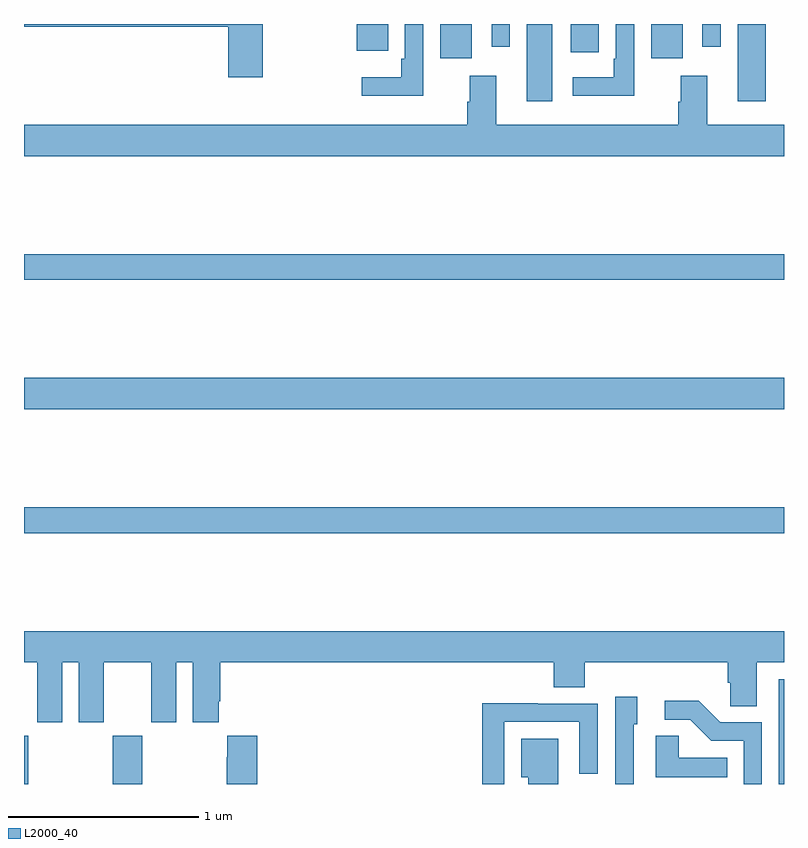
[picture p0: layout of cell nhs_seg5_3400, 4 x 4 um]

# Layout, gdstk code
import gdstk
lib = gdstk.Library(unit=1e-6, precision=1e-09)
def R(c, l, rs):  # rectangles x0, y0, x1, y1
    for r in rs: c.add(gdstk.rectangle(r[:2], r[2:], *l))
def P(c, l, *ps):  # polygons
    for p in ps: c.add(gdstk.Polygon(p, *l))
L2000_40 = (2000, 40)

nhs_seg5_3400 = lib.new_cell('nhs_seg5_3400')
R(nhs_seg5_3400, L2000_40, [(311,842.799,311.022,843.052), (311.467,842.799,311.622,843.052), (314.973,842.799,315,843.351), (311,844.12,315,844.256), (311,844.772,315,844.936), (311,845.452,315,845.588), (313.646,846.393,313.78,846.799), (314.756,846.393,314.903,846.799), (313.19,846.618,313.357,846.799), (314.3,846.618,314.467,846.799), (313.877,846.651,314.026,846.799), (312.752,846.659,312.916,846.799), (313.461,846.678,313.557,846.799), (314.571,846.678,314.667,846.799)])
P(nhs_seg5_3400, L2000_40, [(314.211,846.799),(314.115,846.799),(314.115,846.616),(314.103,846.616),(314.103,846.52),(313.887,846.52),(313.887,846.422),(314.211,846.422)],
  [(312.257,846.799),(311,846.799),(311,846.784),(312.074,846.784),(312.074,846.519),(312.257,846.519)],
  [(313.101,846.799),(313.005,846.799),(313.005,846.616),(312.985,846.616),(312.985,846.52),(312.777,846.52),(312.777,846.422),(313.101,846.422)],
  [(315,846.268),(314.596,846.268),(314.596,846.526),(314.456,846.526),(314.456,846.389),(314.444,846.389),(314.444,846.268),(313.486,846.268),(313.486,846.526),(313.346,846.526),(313.346,846.389),(313.334,846.389),(313.334,846.268),(311,846.268),(311,846.104),(315,846.104)],
  [(311.2,843.44),(311.288,843.44),(311.288,843.123),(311.419,843.123),(311.419,843.44),(311.669,843.44),(311.669,843.123),(311.8,843.123),(311.8,843.44),(311.888,843.44),(311.888,843.123),(312.025,843.123),(312.025,843.235),(312.032,843.235),(312.032,843.44),(313.787,843.44),(313.787,843.307),(313.952,843.307),(313.952,843.44),(314.705,843.44),(314.705,843.331),(314.718,843.331),(314.718,843.208),(314.857,843.208),(314.857,843.44),(315,843.44),(315,843.604),(311,843.604),(311,843.44),(311.069,843.44),(311.069,843.123),(311.2,843.123)],
  [(314.208,843.114),(314.227,843.114),(314.227,843.259),(314.112,843.259),(314.112,842.799),(314.208,842.799)],
  [(314.883,843.123),(314.664,843.123),(314.551,843.236),(314.373,843.236),(314.373,843.138),(314.507,843.138),(314.618,843.027),(314.787,843.027),(314.787,842.799),(314.883,842.799)],
  [(313.527,843.126),(313.923,843.126),(313.923,842.853),(314.019,842.853),(314.019,843.222),(313.703,843.222),(313.703,843.224),(313.411,843.224),(313.411,842.799),(313.527,842.799)],
  [(314.702,842.938),(314.445,842.938),(314.445,843.053),(314.324,843.053),(314.324,842.834),(314.702,842.834)],
  [(312.227,843.052),(312.071,843.052),(312.071,842.939),(312.067,842.939),(312.067,842.799),(312.227,842.799)],
  [(313.813,843.037),(313.616,843.037),(313.616,842.834),(313.655,842.834),(313.655,842.799),(313.813,842.799)])

lib.write_gds('nhs_seg5_3400.gds')
